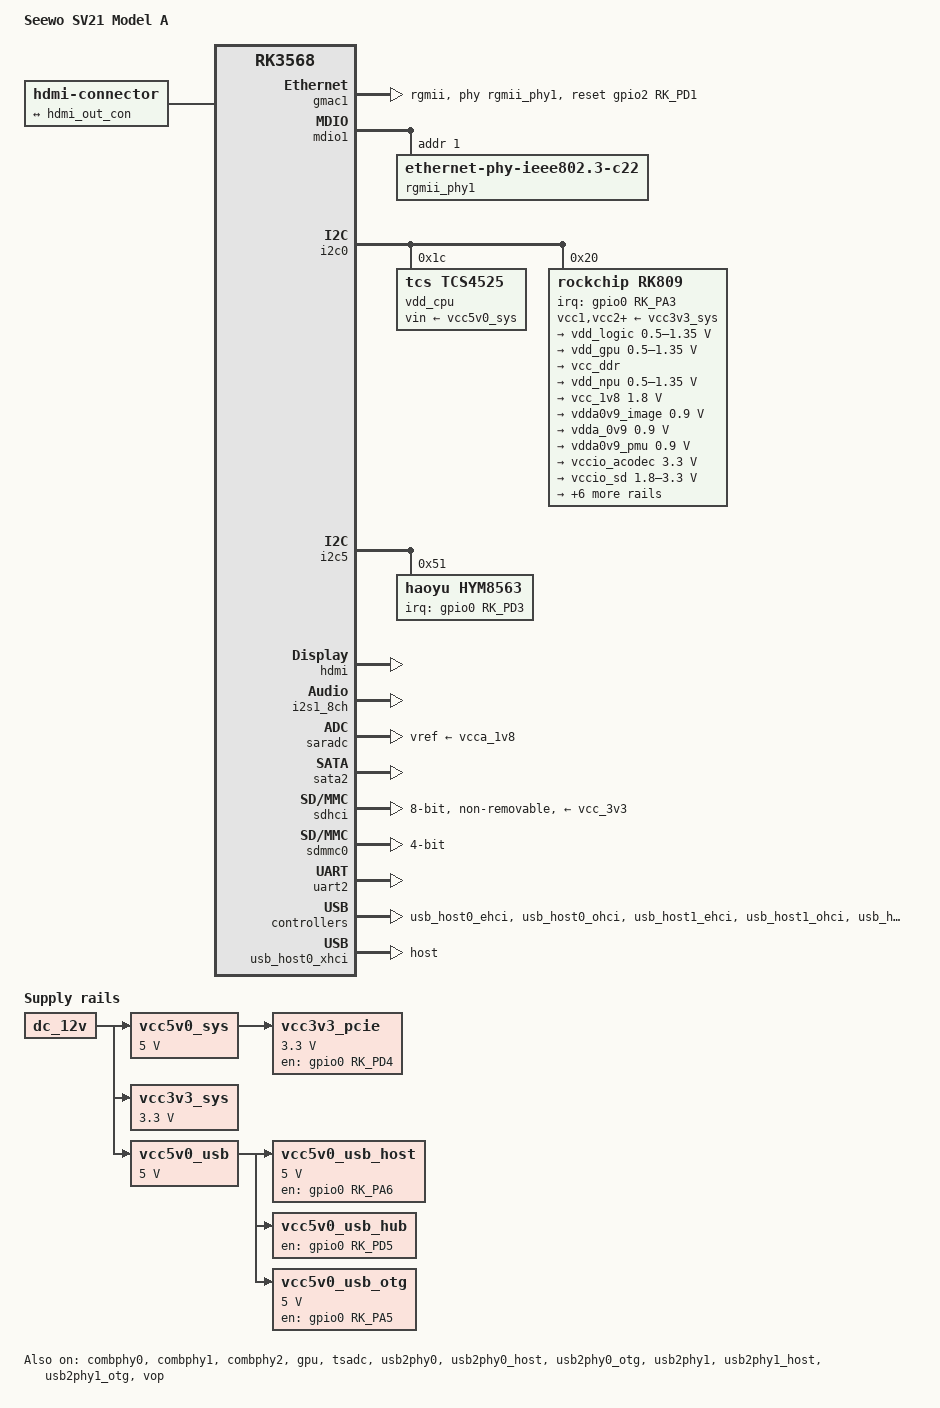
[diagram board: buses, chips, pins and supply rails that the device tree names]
// SPDX-License-Identifier: (GPL-2.0+ OR MIT)
/*
 * Copyright (c) 2023 tdleiyao <tdleiyao@gmail.com>
 */

/dts-v1/;

#include <dt-bindings/gpio/gpio.h>
#include <dt-bindings/input/input.h>
#include <dt-bindings/pinctrl/rockchip.h>
#include <dt-bindings/soc/rockchip,vop2.h>
#include "rk3568.dtsi"

/ {
	model = "Seewo SV21 Model A";
	compatible = "seewo,sv21", "rockchip,rk3568";

	aliases {
		ethernet0 = &gmac0;
		ethernet1 = &gmac1;
		mmc0 = &sdmmc0;
		mmc1 = &sdhci;
	};

	reserved-memory {
		/delete-node/ shmem@10f000;

		ramoops: ramoops@110000 {
			compatible = "ramoops";
			reg = <0x0 0x110000 0x0 0xf0000>;
			record-size = <0x20000>;
			console-size = <0x80000>;
			ftrace-size = <0x0>;
			pmsg-size = <0x50000>;
		};
	};

	sram@10f000 {
		compatible = "mmio-sram";
		reg = <0x0 0x10f000 0x0 0x100>;
		#address-cells = <1>;
		#size-cells = <1>;
		ranges = <0x0 0x0 0x10f000 0x100>;

		scmi_shmem: sram@0 {
			compatible = "arm,scmi-shmem";
			reg = <0x0 0x100>;
		};
	};

	chosen: chosen {
		stdout-path = "serial2:1500000n8";
	};

	hdmi-con {
		compatible = "hdmi-connector";
		type = "a";

		port {
			hdmi_con_in: endpoint {
				remote-endpoint = <&hdmi_out_con>;
			};
		};
	};

	dc_12v: vcc12v-dcin {
		compatible = "regulator-fixed";
		regulator-name = "vcc12v_dcin";
		regulator-always-on;
		regulator-boot-on;
	};

	vcc5v0_sys: vcc5v0-sys {
		compatible = "regulator-fixed";
		regulator-name = "vcc5v0_sys";
		regulator-always-on;
		regulator-boot-on;
		regulator-min-microvolt = <5000000>;
		regulator-max-microvolt = <5000000>;
		vin-supply = <&dc_12v>;
	};

	vcc3v3_sys: vcc3v3-sys {
		compatible = "regulator-fixed";
		regulator-name = "vcc3v3_sys";
		regulator-always-on;
		regulator-boot-on;
		regulator-min-microvolt = <3300000>;
		regulator-max-microvolt = <3300000>;
		vin-supply = <&dc_12v>;
	};

	vcc5v0_usb: vcc5v0-usb {
		compatible = "regulator-fixed";
		regulator-name = "vcc5v0_usb";
		regulator-always-on;
		regulator-boot-on;
		regulator-min-microvolt = <5000000>;
		regulator-max-microvolt = <5000000>;
		vin-supply = <&dc_12v>;
	};

	vcc5v0_usb_host: vcc5v0-usb-host {
		compatible = "regulator-fixed";
		enable-active-high;
		gpio = <&gpio0 RK_PA6 GPIO_ACTIVE_HIGH>;
		pinctrl-names = "default";
		pinctrl-0 = <&vcc5v0_usb_host_en>;
		regulator-name = "vcc5v0_usb_host";
		regulator-min-microvolt = <5000000>;
		regulator-max-microvolt = <5000000>;
		vin-supply = <&vcc5v0_usb>;
	};

	vcc5v0_usb_hub: vcc5v0-usb-hub-regulator {
		compatible = "regulator-fixed";
		enable-active-high;
		gpio = <&gpio0 RK_PD5 GPIO_ACTIVE_HIGH>;
		pinctrl-names = "default";
		pinctrl-0 = <&vcc5v0_usb_hub_en>;
		regulator-name = "vcc5v0_usb_hub";
		regulator-always-on;
		vin-supply = <&vcc5v0_usb>;
	};

	vcc3v3_pcie: vcc3v3-pcie-regulator {
		compatible = "regulator-fixed";
		enable-active-high;
		gpios = <&gpio0 RK_PD4 GPIO_ACTIVE_HIGH>;
		pinctrl-names = "default";
		pinctrl-0 = <&pcie_enable_h>;
		regulator-name = "vcc3v3_pcie";
		regulator-always-on;
		regulator-boot-on;
		regulator-min-microvolt = <3300000>;
		regulator-max-microvolt = <3300000>;
		vin-supply = <&vcc5v0_sys>;
	};

	vcc5v0_usb_otg: vcc5v0-usb-otg-regulator {
		compatible = "regulator-fixed";
		enable-active-high;
		gpio = <&gpio0 RK_PA5 GPIO_ACTIVE_HIGH>;
		pinctrl-names = "default";
		pinctrl-0 = <&vcc5v0_usb_otg_en>;
		regulator-name = "vcc5v0_usb_otg";
		regulator-min-microvolt = <5000000>;
		regulator-max-microvolt = <5000000>;
		vin-supply = <&vcc5v0_usb>;
	};
};

&combphy0 {
	status = "okay";
};

&combphy1 {
	status = "okay";
};

&combphy2 {
	status = "okay";
};

&cpu0 {
	cpu-supply = <&vdd_cpu>;
};

&cpu1 {
	cpu-supply = <&vdd_cpu>;
};

&cpu2 {
	cpu-supply = <&vdd_cpu>;
};

&cpu3 {
	cpu-supply = <&vdd_cpu>;
};

&gpu {
	mali-supply = <&vdd_gpu>;
	status = "okay";
};

&gmac0 {
	assigned-clocks = <&cru SCLK_GMAC0_RX_TX>, <&cru SCLK_GMAC0>;
	assigned-clock-parents = <&cru SCLK_GMAC0_RGMII_SPEED>;
	assigned-clock-rates = <0>, <125000000>;
	clock_in_out = "output";
	phy-mode = "rgmii-id";
	pinctrl-names = "default";
	pinctrl-0 = <&gmac0_miim
		     &gmac0_tx_bus2
		     &gmac0_rx_bus2
		     &gmac0_rgmii_clk
		     &gmac0_rgmii_bus>;
	phy-handle = <&rgmii_phy0>;
	status = "disabled";
};

&mdio0 {
	status = "disabled";
	rgmii_phy0: ethernet-phy@0 {
		compatible = "ethernet-phy-ieee802.3-c22";
		reg = <0>;
	};
};

&gmac1 {
	assigned-clocks = <&cru SCLK_GMAC1_RX_TX>, <&cru SCLK_GMAC1>;
	assigned-clock-parents = <&cru SCLK_GMAC1_RGMII_SPEED>;
	assigned-clock-rates = <0>, <125000000>;
	clock_in_out = "output";
	phy-mode = "rgmii";
	pinctrl-names = "default";
	pinctrl-0 = <&gmac1m1_miim
		     &gmac1m1_tx_bus2
		     &gmac1m1_rx_bus2
		     &gmac1m1_rgmii_clk
		     &gmac1m1_rgmii_bus>;
	snps,reset-gpio = <&gpio2 RK_PD1 GPIO_ACTIVE_HIGH>;
	snps,reset-active-high;
	snps,reset-delays-us = <0 1000000 2000000>;
	tx_delay = <0x2a>;
	rx_delay = <0x2a>;
	fixed-link = <1 1 1000 1 1>;
	phy-handle = <&rgmii_phy1>;
	status = "okay";
};

&mdio1 {
	rgmii_phy1: ethernet-phy@1 {
		compatible = "ethernet-phy-ieee802.3-c22";
		reg = <1>;
	};
};

&i2c0 {
	status = "okay";

	vdd_cpu: regulator@1c {
		compatible = "tcs,tcs4525";
		reg = <0x1c>;
		fcs,suspend-voltage-selector = <1>;
		regulator-name = "vdd_cpu";
		regulator-min-microvolt = <900000>;
		regulator-max-microvolt = <1150000>;
		regulator-ramp-delay = <2300>;
		regulator-always-on;
		regulator-boot-on;
		vin-supply = <&vcc5v0_sys>;

		regulator-state-mem {
			regulator-off-in-suspend;
		};
	};

	rk809: pmic@20 {
		compatible = "rockchip,rk809";
		reg = <0x20>;
		interrupt-parent = <&gpio0>;
		interrupts = <RK_PA3 IRQ_TYPE_LEVEL_LOW>;
		assigned-clocks = <&cru I2S1_MCLKOUT_TX>;
		assigned-clock-parents = <&cru CLK_I2S1_8CH_TX>;
		#clock-cells = <1>;
		clock-names = "mclk";
		clocks = <&cru I2S1_MCLKOUT_TX>;
		clock-output-names = "rk808-clkout1", "rk808-clkout2";
		pinctrl-names = "default";
		pinctrl-0 = <&pmic_int>, <&i2s1m0_mclk>;
		system-power-controller;
		#sound-dai-cells = <0>;
		wakeup-source;

		vcc1-supply = <&vcc3v3_sys>;
		vcc2-supply = <&vcc3v3_sys>;
		vcc3-supply = <&vcc3v3_sys>;
		vcc4-supply = <&vcc3v3_sys>;
		vcc5-supply = <&vcc3v3_sys>;
		vcc6-supply = <&vcc3v3_sys>;
		vcc7-supply = <&vcc3v3_sys>;
		vcc8-supply = <&vcc3v3_sys>;
		vcc9-supply = <&vcc3v3_sys>;

		regulators {
			vdd_logic: DCDC_REG1 {
				regulator-name = "vdd_logic";
				regulator-always-on;
				regulator-boot-on;
				regulator-min-microvolt = <500000>;
				regulator-max-microvolt = <1350000>;
				regulator-init-microvolt = <900000>;
				regulator-ramp-delay = <6001>;
				regulator-initial-mode = <0x2>;
				regulator-state-mem {
					regulator-off-in-suspend;
				};
			};

			vdd_gpu: DCDC_REG2 {
				regulator-name = "vdd_gpu";
				regulator-always-on;
				regulator-boot-on;
				regulator-min-microvolt = <500000>;
				regulator-max-microvolt = <1350000>;
				regulator-init-microvolt = <900000>;
				regulator-ramp-delay = <6001>;
				regulator-initial-mode = <0x2>;
					regulator-state-mem {
					regulator-on-in-suspend;
				};
			};

			vcc_ddr: DCDC_REG3 {
				regulator-always-on;
				regulator-boot-on;
				regulator-initial-mode = <0x2>;
				regulator-name = "vcc_ddr";
				regulator-state-mem {
					regulator-on-in-suspend;
				};
			};

			vdd_npu: DCDC_REG4 {
				regulator-always-on;
				regulator-boot-on;
				regulator-min-microvolt = <500000>;
				regulator-max-microvolt = <1350000>;
				regulator-init-microvolt = <900000>;
				regulator-initial-mode = <0x2>;
				regulator-name = "vdd_npu";
				regulator-state-mem {
					regulator-off-in-suspend;
				};
			};

			vcc_1v8: DCDC_REG5 {
				regulator-name = "vcc_1v8";
				regulator-always-on;
				regulator-boot-on;
				regulator-min-microvolt = <1800000>;
				regulator-max-microvolt = <1800000>;
				regulator-state-mem {
					regulator-off-in-suspend;
				};
			};

			vdda0v9_image: LDO_REG1 {
				regulator-always-on;
				regulator-boot-on;
				regulator-min-microvolt = <900000>;
				regulator-max-microvolt = <900000>;
				regulator-name = "vdda0v9_image";
				regulator-state-mem {
					regulator-off-in-suspend;
				};
			};

			vdda_0v9: LDO_REG2 {
				regulator-always-on;
				regulator-boot-on;
				regulator-min-microvolt = <900000>;
				regulator-max-microvolt = <900000>;
				regulator-name = "vdda_0v9";
				regulator-state-mem {
					regulator-off-in-suspend;
				};
			};

			vdda0v9_pmu: LDO_REG3 {
				regulator-always-on;
				regulator-boot-on;
				regulator-min-microvolt = <900000>;
				regulator-max-microvolt = <900000>;
				regulator-name = "vdda0v9_pmu";
				regulator-state-mem {
					regulator-on-in-suspend;
					regulator-suspend-microvolt = <900000>;
				};
			};

			vccio_acodec: LDO_REG4 {
				regulator-always-on;
				regulator-boot-on;
				regulator-min-microvolt = <3300000>;
				regulator-max-microvolt = <3300000>;
				regulator-name = "vccio_acodec";
				regulator-state-mem {
					regulator-off-in-suspend;
				};
			};

			vccio_sd: LDO_REG5 {
				regulator-always-on;
				regulator-boot-on;
				regulator-min-microvolt = <1800000>;
				regulator-max-microvolt = <3300000>;
				regulator-name = "vccio_sd";
				regulator-state-mem {
					regulator-off-in-suspend;
				};
			};

			vcc3v3_pmu: LDO_REG6 {
				regulator-always-on;
				regulator-boot-on;
				regulator-min-microvolt = <3300000>;
				regulator-max-microvolt = <3300000>;
				regulator-name = "vcc3v3_pmu";
				regulator-state-mem {
					regulator-on-in-suspend;
					regulator-suspend-microvolt = <3300000>;
				};
			};

			vcca_1v8: LDO_REG7 {
				regulator-always-on;
				regulator-boot-on;
				regulator-min-microvolt = <1800000>;
				regulator-max-microvolt = <1800000>;
				regulator-name = "vcca_1v8";
				regulator-state-mem {
					regulator-off-in-suspend;
				};
			};

			vcca1v8_pmu: LDO_REG8 {
				regulator-always-on;
				regulator-boot-on;
				regulator-min-microvolt = <1800000>;
				regulator-max-microvolt = <1800000>;
				regulator-name = "vcca1v8_pmu";
				regulator-state-mem {
					regulator-on-in-suspend;
					regulator-suspend-microvolt = <1800000>;
				};
			};

			vcca1v8_image: LDO_REG9 {
				regulator-always-on;
				regulator-boot-on;
				regulator-min-microvolt = <1800000>;
				regulator-max-microvolt = <1800000>;
				regulator-name = "vcca1v8_image";
				regulator-state-mem {
					regulator-off-in-suspend;
				};
			};

			vcc_3v3: SWITCH_REG1 {
				regulator-name = "vcc_3v3";
				regulator-always-on;
				regulator-boot-on;
				regulator-state-mem {
					regulator-off-in-suspend;
				};
			};

			vcc3v3_sd: SWITCH_REG2 {
				regulator-name = "vcc3v3_sd";
				regulator-state-mem {
					regulator-off-in-suspend;
				};
			};
		};
	};
};

&i2c5 {
	status = "okay";

	hym8563: rtc@51 {
		compatible = "haoyu,hym8563";
		reg = <0x51>;
		interrupt-parent = <&gpio0>;
		interrupts = <RK_PD3 IRQ_TYPE_LEVEL_LOW>;
		#clock-cells = <0>;
		clock-output-names = "rtcic_32kout";
		pinctrl-names = "default";
		pinctrl-0 = <&hym8563_int>;
		wakeup-source;
	};
};

&hdmi {
	avdd-0v9-supply = <&vdda0v9_image>;
	avdd-1v8-supply = <&vcca1v8_image>;
	status = "okay";
};

&hdmi_in {
	hdmi_in_vp0: endpoint {
		remote-endpoint = <&vp0_out_hdmi>;
	};
};

&hdmi_out {
	hdmi_out_con: endpoint {
		remote-endpoint = <&hdmi_con_in>;
	};
};

&i2s1_8ch {
	pinctrl-names = "default";
	pinctrl-0 = <&i2s1m0_sclktx &i2s1m0_sclkrx
		     &i2s1m0_lrcktx &i2s1m0_lrckrx
		     &i2s1m0_sdi0   &i2s1m0_sdi1
		     &i2s1m0_sdi2   &i2s1m0_sdi3
		     &i2s1m0_sdo0   &i2s1m0_sdo1
		     &i2s1m0_sdo2   &i2s1m0_sdo3>;
	rockchip,trcm-sync-tx-only;
	status = "okay";
};

&pinctrl {
	ethernet {
		eth_phy_rst: eth-phy-rst {
			rockchip,pins = <3 RK_PB0 RK_FUNC_GPIO &pcfg_pull_none>;
		};
	};

	hym8563 {
		hym8563_int: hym8563-int {
			rockchip,pins = <0 RK_PD3 RK_FUNC_GPIO &pcfg_pull_up>;
		};
	};

	pcie {
		pcie_enable_h: pcie-enable-h {
			rockchip,pins = <0 RK_PD4 RK_FUNC_GPIO &pcfg_pull_none>;
		};

		pcie_reset_h: pcie-reset-h {
			rockchip,pins = <3 RK_PC1 RK_FUNC_GPIO &pcfg_pull_none>;
		};
	};

	pmic {
		pmic_int: pmic-int {
			rockchip,pins = <0 RK_PA3 RK_FUNC_GPIO &pcfg_pull_up>;
		};
	};

	usb {
		vcc5v0_usb_host_en: vcc5v0-usb-host-en {
			rockchip,pins = <0 RK_PA6 RK_FUNC_GPIO &pcfg_pull_none>;
		};

		vcc5v0_usb_hub_en: vcc5v0-usb-hub-en {
			rockchip,pins = <0 RK_PD5 RK_FUNC_GPIO &pcfg_pull_none>;
		};

		vcc5v0_usb_otg_en: vcc5v0-usb-otg-en {
			rockchip,pins = <0 RK_PA5 RK_FUNC_GPIO &pcfg_pull_none>,
					<3 RK_PC6 RK_FUNC_GPIO &pcfg_output_high>;
		};
	};
};

&pmu_io_domains {
	pmuio1-supply = <&vcc3v3_pmu>;
	pmuio2-supply = <&vcc3v3_pmu>;
	vccio1-supply = <&vccio_acodec>;
	vccio2-supply = <&vcc_1v8>;
	vccio3-supply = <&vccio_sd>;
	vccio4-supply = <&vcc_1v8>;
	vccio5-supply = <&vcc_3v3>;
	vccio6-supply = <&vcc_1v8>;
	vccio7-supply = <&vcc_3v3>;
	status = "okay";
};

&saradc {
	vref-supply = <&vcca_1v8>;
	status = "okay";
};

&sata2 {
	status = "okay";
};

&sdhci {
	bus-width = <8>;
	max-frequency = <200000000>;
	non-removable;
	pinctrl-names = "default";
	pinctrl-0 = <&emmc_bus8 &emmc_clk &emmc_cmd &emmc_datastrobe &emmc_rstnout>;
	vmmc-supply = <&vcc_3v3>;
	vqmmc-supply = <&vcc_1v8>;
	status = "okay";
};

&sdmmc0 {
	broken-cd;
	bus-width = <4>;
	cap-sd-highspeed;
	disable-wp;
	pinctrl-names = "default";
	pinctrl-0 = <&sdmmc0_bus4 &sdmmc0_clk &sdmmc0_cmd &sdmmc0_det>;
	vqmmc-supply = <&vccio_sd>;
	status = "okay";
};

&sdmmc1 {
	status = "disabled";
};

&tsadc {
	rockchip,hw-tshut-mode = <1>;
	rockchip,hw-tshut-polarity = <0>;
	status = "okay";
};

&uart2 {
	status = "okay";
};

&usb_host0_ehci {
	status = "okay";
};

&usb_host0_ohci {
	status = "okay";
};

&usb_host0_xhci {
	dr_mode = "host";
	extcon = <&usb2phy0>;
	status = "okay";
};

&usb_host1_ehci {
	status = "okay";
};

&usb_host1_ohci {
	status = "okay";
};

&usb_host1_xhci {
	status = "okay";
};

&usb2phy0 {
	status = "okay";
};

&usb2phy0_host {
	phy-supply = <&vcc5v0_usb_host>;
	status = "okay";
};

&usb2phy0_otg {
	vbus-supply = <&vcc5v0_usb_otg>;
	status = "okay";
};

&usb2phy1 {
	status = "okay";
};

&usb2phy1_host {
	phy-supply = <&vcc5v0_usb_host>;
	status = "okay";
};

&usb2phy1_otg {
	phy-supply = <&vcc5v0_usb_otg>;
	status = "okay";
};

&vop {
	status = "okay";
};

&vop_mmu {
	status = "okay";
};

&vp0 {
	vp0_out_hdmi: endpoint@ROCKCHIP_VOP2_EP_HDMI0 {
		reg = <ROCKCHIP_VOP2_EP_HDMI0>;
		remote-endpoint = <&hdmi_in_vp0>;
	};
};

&gic {
	/delete-property/ dma-noncoherent;
	/delete-property/ mbi-alias;
	/delete-property/ mbi-ranges;
	/delete-property/ msi-controller;
};

&its {
	/delete-property/ dma-noncoherent;
};

&rng {
	status = "disabled";
};
